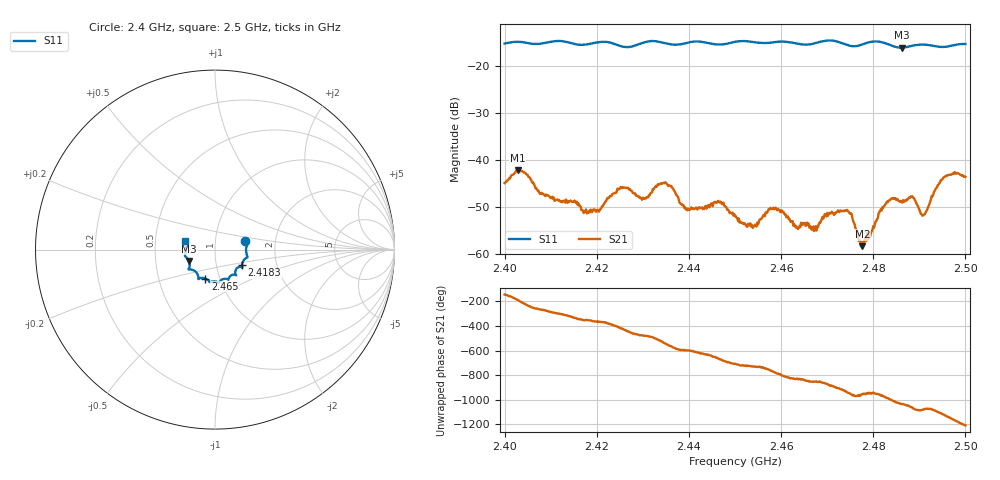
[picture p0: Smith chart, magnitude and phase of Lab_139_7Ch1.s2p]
# Hz S RI R 50
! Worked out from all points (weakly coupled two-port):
!   601 points, 2.4 GHz to 2.5 GHz, reference 50 ohm
!   highest |S21| = -42.11 dB at 2.4028 GHz (marker M1); lowest = -58.4 dB at 2.4777 GHz (marker M2)
!   lowest |S11| = -16.0 dB at 2.4862 GHz (marker M3), VSWR 1.38, Z = 37.1 - j4.84 ohm
!   |S11| at or under -10 dB: start of sweep to end of sweep
!   S12 and S22 are empty: the file has one direction only
!   S11 on the Smith chart (normalised r, x): 2.4 GHz: 1.40, +0.13; 2.4183 GHz: 1.33, -0.24; 2.465 GHz: 0.86, -0.29; 2.5 GHz: 0.71, +0.07
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2.4e9  0.1689 0.0457  -0.00466 -0.00327  0 0  0 0
2.402833e9  0.1798 0.0331  -0.00775 0.00119  0 0  0 0
2.416667e9  0.1548 -0.0683  0.00285 0.000598  0 0  0 0
2.418333e9  0.1498 -0.0868  0.00285 0.000325  0 0  0 0
2.425e9  0.1341 -0.0966  0.00291 -0.004  0 0  0 0
2.430167e9  0.1142 -0.138  -0.00188 -0.00346  0 0  0 0
2.433333e9  0.1166 -0.1414  -0.00491 -0.00259  0 0  0 0
2.4395e9  0.0765 -0.1602  -0.00156 0.00259  0 0  0 0
2.4465e9  0.0483 -0.1637  0.00216 0.00289  0 0  0 0
2.45e9  0.025 -0.1807  0.00246 0.000563  0 0  0 0
2.454167e9  0.013 -0.1804  0.00194 -0.000404  0 0  0 0
2.4585e9  -0.021 -0.1795  0.00172 -0.00244  0 0  0 0
2.465e9  -0.0529 -0.1621  -0.00104 -0.00184  0 0  0 0
2.466667e9  -0.0715 -0.1574  -0.00123 -0.00131  0 0  0 0
2.474167e9  -0.0963 -0.14  -0.00237 0.00168  0 0  0 0
2.477667e9  -0.1295 -0.1118  -0.000664 0.00101  0 0  0 0
2.483333e9  -0.1419 -0.0957  -2.99e-05 0.00367  0 0  0 0
2.486167e9  -0.1446 -0.0636  0.00258 0.00252  0 0  0 0
2.4885e9  -0.1602 -0.0433  0.00397 0.00106  0 0  0 0
2.490833e9  -0.1672 -0.0338  0.00256 -2.4e-05  0 0  0 0
2.495167e9  -0.1607 0.00658  0.00504 -0.00404  0 0  0 0
2.5e9  -0.1666 0.047  -0.00418 -0.00512  0 0  0 0
